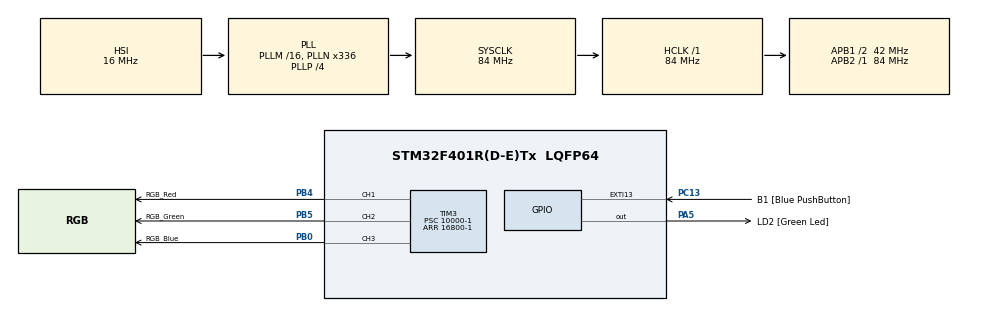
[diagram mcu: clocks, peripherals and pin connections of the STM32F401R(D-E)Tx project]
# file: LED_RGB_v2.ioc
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FREERTOS.Tasks01=defaultTask,0,128,StartDefaultTask,Default,NULL
Mcu.Family=STM32F4
Mcu.Name=STM32F401R(D-E)Tx
Mcu.Package=LQFP64
NVIC.PriorityGroup=NVIC_PRIORITYGROUP_4
NVIC.TIM1_UP_TIM10_IRQn=true\:0\:0\:false\:false\:true\:false\:false
NVIC.TIM3_IRQn=true\:5\:0\:false\:false\:true\:true\:true
NVIC.TimeBase=TIM1_UP_TIM10_IRQn
NVIC.TimeBaseIP=TIM1
PA13.GPIO_Label=TMS
PA13.Mode=Serial_Wire
PA13.Signal=SYS_JTMS-SWDIO
PA14.GPIO_Label=TCK
PA14.Mode=Serial_Wire
PA14.Signal=SYS_JTCK-SWCLK
PA5.GPIO_Label=LD2 [Green Led]
PA5.GPIO_Mode=GPIO_MODE_OUTPUT_PP
PA5.GPIO_PuPd=GPIO_NOPULL
PA5.GPIO_Speed=GPIO_SPEED_FREQ_LOW
PA5.Signal=GPIO_Output
PB0.GPIO_Label=RGB_Blue
PB0.Signal=S_TIM3_CH3
PB3.GPIO_Label=SWO
PB3.Signal=SYS_JTDO-SWO
PB4.GPIO_Label=RGB_Red
PB4.Signal=S_TIM3_CH1
PB5.GPIO_Label=RGB_Green
PB5.Signal=S_TIM3_CH2
PC13-ANTI_TAMP.GPIO_Label=B1 [Blue PushButton]
PC13-ANTI_TAMP.GPIO_ModeDefaultEXTI=GPIO_MODE_IT_FALLING
PC13-ANTI_TAMP.GPIO_PuPd=GPIO_NOPULL
PC13-ANTI_TAMP.Signal=GPXTI13
PC14-OSC32_IN.Mode=LSE-External-Oscillator
PC14-OSC32_IN.Signal=RCC_OSC32_IN
PC15-OSC32_OUT.Mode=LSE-External-Oscillator
PC15-OSC32_OUT.Signal=RCC_OSC32_OUT
ProjectManager.HeapSize=0x200
ProjectManager.StackSize=0x400
ProjectManager.TargetToolchain=MDK-ARM V5
RCC.48MHZClocksFreq_Value=48000000
RCC.AHBFreq_Value=84000000
RCC.APB1CLKDivider=RCC_HCLK_DIV2
RCC.APB1Freq_Value=42000000
RCC.APB1TimFreq_Value=84000000
RCC.APB2Freq_Value=84000000
RCC.APB2TimFreq_Value=84000000
RCC.CortexFreq_Value=84000000
RCC.HCLKFreq_Value=84000000
RCC.HSE_VALUE=8000000
RCC.HSI_VALUE=16000000
RCC.PLLN=336
RCC.PLLP=RCC_PLLP_DIV4
RCC.PLLQ=7
RCC.SYSCLKFreq_VALUE=84000000
RCC.SYSCLKSource=RCC_SYSCLKSOURCE_PLLCLK
RCC.VCOOutputFreq_Value=336000000
SH.S_TIM3_CH1.0=TIM3_CH1,PWM Generation1 CH1
SH.S_TIM3_CH2.0=TIM3_CH2,PWM Generation2 CH2
SH.S_TIM3_CH3.0=TIM3_CH3,Output Compare3 CH3
TIM3.Channel-Output\ Compare3\ CH3=TIM_CHANNEL_3
TIM3.Channel-PWM\ Generation1\ CH1=TIM_CHANNEL_1
TIM3.Channel-PWM\ Generation2\ CH2=TIM_CHANNEL_2
TIM3.OCMode_3=TIM_OCMODE_TOGGLE
TIM3.OCPolarity_1=TIM_OCPOLARITY_LOW
TIM3.Period=16800-1
TIM3.Prescaler=10000-1
TIM3.Pulse-Output\ Compare3\ CH3=5600-1
TIM3.Pulse-PWM\ Generation1\ CH1=0
TIM3.Pulse-PWM\ Generation2\ CH2=0
VP_FREERTOS_VS_ENABLE.Mode=Enabled
VP_SYS_VS_tim1.Mode=TIM1
VP_TIM3_VS_ClockSourceINT.Mode=Internal
board=NUCLEO-F401RE

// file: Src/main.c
/* USER CODE BEGIN Header */
/**
  ******************************************************************************
  * @file           : main.c
  * @brief          : Main program body
  ******************************************************************************
  * This notice applies to any and all portions of this file
  * that are not between comment pairs USER CODE BEGIN and
  * USER CODE END. Other portions of this file, whether
  * inserted by the user or by software development tools
  * are owned by their respective copyright owners.
  *
  * Copyright (c) 2019 STMicroelectronics International N.V.
  * All rights reserved.
  *
  * Redistribution and use in source and binary forms, with or without
  * modification, are permitted, provided that the following conditions are met:
  *
  * 1. Redistribution of source code must retain the above copyright notice,
  *    this list of conditions and the following disclaimer.
  * 2. Redistributions in binary form must reproduce the above copyright notice,
  *    this list of conditions and the following disclaimer in the documentation
  *    and/or other materials provided with the distribution.
  * 3. Neither the name of STMicroelectronics nor the names of other
  *    contributors to this software may be used to endorse or promote products
  *    derived from this software without specific written permission.
  * 4. This software, including modifications and/or derivative works of this
  *    software, must execute solely and exclusively on microcontroller or
  *    microprocessor devices manufactured by or for STMicroelectronics.
  * 5. Redistribution and use of this software other than as permitted under
  *    this license is void and will automatically terminate your rights under
  *    this license.
  *
  * THIS SOFTWARE IS PROVIDED BY STMICROELECTRONICS AND CONTRIBUTORS "AS IS"
  * AND ANY EXPRESS, IMPLIED OR STATUTORY WARRANTIES, INCLUDING, BUT NOT
  * LIMITED TO, THE IMPLIED WARRANTIES OF MERCHANTABILITY, FITNESS FOR A
  * PARTICULAR PURPOSE AND NON-INFRINGEMENT OF THIRD PARTY INTELLECTUAL PROPERTY
  * RIGHTS ARE DISCLAIMED TO THE FULLEST EXTENT PERMITTED BY LAW. IN NO EVENT
  * SHALL STMICROELECTRONICS OR CONTRIBUTORS BE LIABLE FOR ANY DIRECT, INDIRECT,
  * INCIDENTAL, SPECIAL, EXEMPLARY, OR CONSEQUENTIAL DAMAGES (INCLUDING, BUT NOT
  * LIMITED TO, PROCUREMENT OF SUBSTITUTE GOODS OR SERVICES; LOSS OF USE, DATA,
  * OR PROFITS; OR BUSINESS INTERRUPTION) HOWEVER CAUSED AND ON ANY THEORY OF
  * LIABILITY, WHETHER IN CONTRACT, STRICT LIABILITY, OR TORT (INCLUDING
  * NEGLIGENCE OR OTHERWISE) ARISING IN ANY WAY OUT OF THE USE OF THIS SOFTWARE,
  * EVEN IF ADVISED OF THE POSSIBILITY OF SUCH DAMAGE.
  *
  ******************************************************************************
  */
/* USER CODE END Header */

#include "main.h"
#include "cmsis_os.h"

TIM_HandleTypeDef htim3;

osThreadId defaultTaskHandle;
/* USER CODE BEGIN PV */
int status = 0;
/* USER CODE END PV */

void SystemClock_Config(void);
static void MX_GPIO_Init(void);
static void MX_TIM3_Init(void);
void StartDefaultTask(void const * argument);

/* USER CODE BEGIN PFP */
void HAL_TIM_OC_DelayElapsedCallback(TIM_HandleTypeDef *htim);
/* USER CODE END PFP */

int main(void)
{

  /* MCU Configuration--------------------------------------------------------*/

  /* Reset of all peripherals, Initializes the Flash interface and the Systick. */
  HAL_Init();

  /* Configure the system clock */
  SystemClock_Config();

  /* Initialize all configured peripherals */
  MX_GPIO_Init();
  MX_TIM3_Init();
  /* USER CODE BEGIN 2 */
	HAL_TIM_PWM_Start(&htim3, TIM_CHANNEL_1);
	HAL_TIM_PWM_Start(&htim3, TIM_CHANNEL_2);
	HAL_TIM_OC_Start_IT(&htim3, TIM_CHANNEL_3);
  /* USER CODE END 2 */

  /* Create the thread(s) */
  /* definition and creation of defaultTask */
  osThreadDef(defaultTask, StartDefaultTask, osPriorityNormal, 0, 128);
  defaultTaskHandle = osThreadCreate(osThread(defaultTask), NULL);

  /* Start scheduler */
  osKernelStart();

  /* We should never get here as control is now taken by the scheduler */

  /* Infinite loop */
  while (1)
  {

  }
}

void SystemClock_Config(void)
{
  RCC_OscInitTypeDef RCC_OscInitStruct = {0};
  RCC_ClkInitTypeDef RCC_ClkInitStruct = {0};

  /**Configure the main internal regulator output voltage
  */
  __HAL_RCC_PWR_CLK_ENABLE();
  __HAL_PWR_VOLTAGESCALING_CONFIG(PWR_REGULATOR_VOLTAGE_SCALE2);
  /**Initializes the CPU, AHB and APB busses clocks
  */
  RCC_OscInitStruct.OscillatorType = RCC_OSCILLATORTYPE_HSI;
  RCC_OscInitStruct.HSIState = RCC_HSI_ON;
  RCC_OscInitStruct.HSICalibrationValue = RCC_HSICALIBRATION_DEFAULT;
  RCC_OscInitStruct.PLL.PLLState = RCC_PLL_ON;
  RCC_OscInitStruct.PLL.PLLSource = RCC_PLLSOURCE_HSI;
  RCC_OscInitStruct.PLL.PLLM = 16;
  RCC_OscInitStruct.PLL.PLLN = 336;
  RCC_OscInitStruct.PLL.PLLP = RCC_PLLP_DIV4;
  RCC_OscInitStruct.PLL.PLLQ = 7;
  if (HAL_RCC_OscConfig(&RCC_OscInitStruct) != HAL_OK)
  {
    Error_Handler();
  }
  /**Initializes the CPU, AHB and APB busses clocks
  */
  RCC_ClkInitStruct.ClockType = RCC_CLOCKTYPE_HCLK|RCC_CLOCKTYPE_SYSCLK
                              |RCC_CLOCKTYPE_PCLK1|RCC_CLOCKTYPE_PCLK2;
  RCC_ClkInitStruct.SYSCLKSource = RCC_SYSCLKSOURCE_PLLCLK;
  RCC_ClkInitStruct.AHBCLKDivider = RCC_SYSCLK_DIV1;
  RCC_ClkInitStruct.APB1CLKDivider = RCC_HCLK_DIV2;
  RCC_ClkInitStruct.APB2CLKDivider = RCC_HCLK_DIV1;

  if (HAL_RCC_ClockConfig(&RCC_ClkInitStruct, FLASH_LATENCY_2) != HAL_OK)
  {
    Error_Handler();
  }
}

static void MX_TIM3_Init(void)
{

  TIM_ClockConfigTypeDef sClockSourceConfig = {0};
  TIM_MasterConfigTypeDef sMasterConfig = {0};
  TIM_OC_InitTypeDef sConfigOC = {0};

  htim3.Instance = TIM3;
  htim3.Init.Prescaler = 10000-1;
  htim3.Init.CounterMode = TIM_COUNTERMODE_UP;
  htim3.Init.Period = 16800-1;
  htim3.Init.ClockDivision = TIM_CLOCKDIVISION_DIV1;
  if (HAL_TIM_Base_Init(&htim3) != HAL_OK)
  {
    Error_Handler();
  }
  sClockSourceConfig.ClockSource = TIM_CLOCKSOURCE_INTERNAL;
  if (HAL_TIM_ConfigClockSource(&htim3, &sClockSourceConfig) != HAL_OK)
  {
    Error_Handler();
  }
  if (HAL_TIM_PWM_Init(&htim3) != HAL_OK)
  {
    Error_Handler();
  }
  if (HAL_TIM_OC_Init(&htim3) != HAL_OK)
  {
    Error_Handler();
  }
  sMasterConfig.MasterOutputTrigger = TIM_TRGO_RESET;
  sMasterConfig.MasterSlaveMode = TIM_MASTERSLAVEMODE_DISABLE;
  if (HAL_TIMEx_MasterConfigSynchronization(&htim3, &sMasterConfig) != HAL_OK)
  {
    Error_Handler();
  }
  sConfigOC.OCMode = TIM_OCMODE_PWM1;
  sConfigOC.Pulse = 11200 - 1;
  sConfigOC.OCPolarity = TIM_OCPOLARITY_LOW;
  sConfigOC.OCFastMode = TIM_OCFAST_DISABLE;
  if (HAL_TIM_PWM_ConfigChannel(&htim3, &sConfigOC, TIM_CHANNEL_1) != HAL_OK)
  {
    Error_Handler();
  }
  sConfigOC.OCPolarity = TIM_OCPOLARITY_HIGH;
	sConfigOC.Pulse = 5600 - 1;
  if (HAL_TIM_PWM_ConfigChannel(&htim3, &sConfigOC, TIM_CHANNEL_2) != HAL_OK)
  {
    Error_Handler();
  }
  sConfigOC.OCMode = TIM_OCMODE_TOGGLE;
  sConfigOC.Pulse = 5600-1;
  if (HAL_TIM_OC_ConfigChannel(&htim3, &sConfigOC, TIM_CHANNEL_3) != HAL_OK)
  {
    Error_Handler();
  }
  HAL_TIM_MspPostInit(&htim3);

}

static void MX_GPIO_Init(void)
{
  GPIO_InitTypeDef GPIO_InitStruct = {0};

  /* GPIO Ports Clock Enable */
  __HAL_RCC_GPIOC_CLK_ENABLE();
  __HAL_RCC_GPIOA_CLK_ENABLE();
  __HAL_RCC_GPIOB_CLK_ENABLE();

  /*Configure GPIO pin Output Level */
  HAL_GPIO_WritePin(LD2_GPIO_Port, LD2_Pin, GPIO_PIN_RESET);

  /*Configure GPIO pin : B1_Pin */
  GPIO_InitStruct.Pin = B1_Pin;
  GPIO_InitStruct.Mode = GPIO_MODE_IT_FALLING;
  GPIO_InitStruct.Pull = GPIO_NOPULL;
  HAL_GPIO_Init(B1_GPIO_Port, &GPIO_InitStruct);

  /*Configure GPIO pin : LD2_Pin */
  GPIO_InitStruct.Pin = LD2_Pin;
  GPIO_InitStruct.Mode = GPIO_MODE_OUTPUT_PP;
  GPIO_InitStruct.Pull = GPIO_NOPULL;
  GPIO_InitStruct.Speed = GPIO_SPEED_FREQ_LOW;
  HAL_GPIO_Init(LD2_GPIO_Port, &GPIO_InitStruct);

}

/* USER CODE BEGIN 4 */
void HAL_TIM_OC_DelayElapsedCallback(TIM_HandleTypeDef *htim) {
	TIM_OC_InitTypeDef sConfigOC = {0};
	if ( status == 0) {
		status = 1;
		sConfigOC.Pulse = 11200-1;
	} else {
		status = 0;
		sConfigOC.Pulse = 5600-1;
	}

  sConfigOC.OCPolarity = TIM_OCPOLARITY_HIGH;
  sConfigOC.OCMode = TIM_OCMODE_TOGGLE;
  if (HAL_TIM_OC_ConfigChannel(&htim3, &sConfigOC, TIM_CHANNEL_3) != HAL_OK)
  {
    Error_Handler();
  }
	HAL_TIM_OC_Start_IT(&htim3, TIM_CHANNEL_3);
}
/* USER CODE END 4 */

void StartDefaultTask(void const * argument)
{

  for(;;)
  {
    osDelay(1);
  }
}

void HAL_TIM_PeriodElapsedCallback(TIM_HandleTypeDef *htim)
{
  if (htim->Instance == TIM1) {
    HAL_IncTick();
  }
}

void Error_Handler(void)
{
}

/************************ (C) COPYRIGHT STMicroelectronics *****END OF FILE****/
